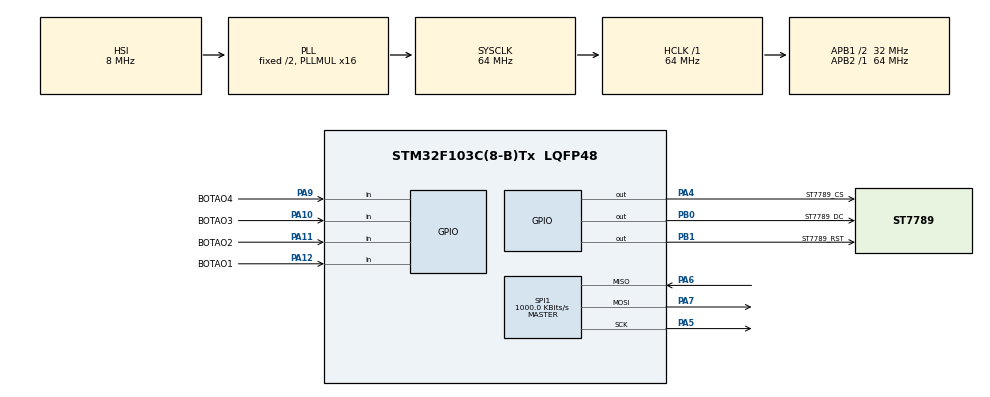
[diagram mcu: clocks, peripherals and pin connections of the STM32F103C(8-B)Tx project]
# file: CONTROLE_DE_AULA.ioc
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Mcu.Family=STM32F1
Mcu.Name=STM32F103C(8-B)Tx
Mcu.Package=LQFP48
NVIC.PriorityGroup=NVIC_PRIORITYGROUP_4
PA10.GPIO_Label=BOTAO3
PA10.GPIO_PuPd=GPIO_PULLUP
PA10.Signal=GPIO_Input
PA11.GPIO_Label=BOTAO2
PA11.GPIO_PuPd=GPIO_PULLUP
PA11.Signal=GPIO_Input
PA12.GPIO_Label=BOTAO1
PA12.GPIO_PuPd=GPIO_PULLUP
PA12.Signal=GPIO_Input
PA13.Mode=Serial_Wire
PA13.Signal=SYS_JTMS-SWDIO
PA14.Mode=Serial_Wire
PA14.Signal=SYS_JTCK-SWCLK
PA4.GPIO_Label=ST7789_CS
PA4.Signal=GPIO_Output
PA5.Mode=Full_Duplex_Master
PA5.Signal=SPI1_SCK
PA6.Mode=Full_Duplex_Master
PA6.Signal=SPI1_MISO
PA7.Mode=Full_Duplex_Master
PA7.Signal=SPI1_MOSI
PA9.GPIO_Label=BOTAO4
PA9.GPIO_PuPd=GPIO_PULLUP
PA9.Signal=GPIO_Input
PB0.GPIO_Label=ST7789_DC
PB0.Signal=GPIO_Output
PB1.GPIO_Label=ST7789_RST
PB1.Signal=GPIO_Output
ProjectManager.HeapSize=0x200
ProjectManager.StackSize=0x400
ProjectManager.TargetToolchain=STM32CubeIDE
RCC.AHBFreq_Value=64000000
RCC.APB1CLKDivider=RCC_HCLK_DIV2
RCC.APB1Freq_Value=32000000
RCC.APB1TimFreq_Value=64000000
RCC.APB2Freq_Value=64000000
RCC.APB2TimFreq_Value=64000000
RCC.HCLKFreq_Value=64000000
RCC.PLLMUL=RCC_PLL_MUL16
RCC.SYSCLKFreq_VALUE=64000000
RCC.SYSCLKSource=RCC_SYSCLKSOURCE_PLLCLK
RCC.USBFreq_Value=64000000
SPI1.BaudRatePrescaler=SPI_BAUDRATEPRESCALER_64
SPI1.CLKPolarity=SPI_POLARITY_HIGH
SPI1.CalculateBaudRate=1000.0 KBits/s
SPI1.Direction=SPI_DIRECTION_2LINES
SPI1.Mode=SPI_MODE_MASTER
SPI1.VirtualType=VM_MASTER
board=custom

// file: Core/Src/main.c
/* USER CODE BEGIN Header */
/**
  ******************************************************************************
  * @file           : main.c
  * @brief          : Main program body
  ******************************************************************************
  * @attention
  *
  * <h2><center>&copy; Copyright (c) 2026 STMicroelectronics.
  * All rights reserved.</center></h2>
  *
  * This software component is licensed by ST under BSD 3-Clause license,
  * the "License"; You may not use this file except in compliance with the
  * License. You may obtain a copy of the License at:
  *                        opensource.org/licenses/BSD-3-Clause
  *
  ******************************************************************************
  */
/* USER CODE END Header */
#include "main.h"

/* USER CODE BEGIN Includes */
#include "st7789\st7789.h"
#include "barracarregamento.h"
#include <stdlib.h>
#include <time.h>

/* USER CODE END Includes */

/* USER CODE BEGIN PD */
#define LE_BOTAO1 HAL_GPIO_ReadPin(BOTAO1_GPIO_Port, BOTAO1_Pin)
#define LE_BOTAO2 HAL_GPIO_ReadPin(BOTAO2_GPIO_Port, BOTAO2_Pin)
#define LE_BOTAO3 HAL_GPIO_ReadPin(BOTAO3_GPIO_Port, BOTAO3_Pin)
#define LE_BOTAO4 HAL_GPIO_ReadPin(BOTAO4_GPIO_Port, BOTAO4_Pin)
/* USER CODE END PD */

SPI_HandleTypeDef hspi1;

void SystemClock_Config(void);
static void MX_GPIO_Init(void);
static void MX_SPI1_Init(void);

int main(void)
{

  /* MCU Configuration--------------------------------------------------------*/

  /* Reset of all peripherals, Initializes the Flash interface and the Systick. */
  HAL_Init();

  /* Configure the system clock */
  SystemClock_Config();

  /* Initialize all configured peripherals */
  MX_GPIO_Init();
  MX_SPI1_Init();
  /* USER CODE BEGIN 2 */
  ST7789_Init();
  /* USER CODE END 2 */

  /* Infinite loop */
  /* USER CODE BEGIN WHILE */
  while (1)
  {
	  ST7789_Fill_Color(0XFC07);
	  ST7789_WriteString(0, 5, "Bem vindo!", Font_16x26, BLACK, 0XFC07);
	  ST7789_WriteString(0, 50, "Aperte PA9 para      iniciar a aula", Font_11x18, BLACK, 0XFC07);
	  HAL_Delay(3000);

	  int aula = 0;

	  	  if (LE_BOTAO4 == 0){
	  		  aula = 1;

	  		      ST7789_Fill_Color(0xFFE0);
	  			  ST7789_WriteString(0, 5, "Digite a senha", Font_16x26, BLACK, YELLOW);
	  			  ST7789_WriteString(0, 50, "PA09 = primeiro   digito", Font_11x18, BLACK, YELLOW);
	  			  ST7789_WriteString(0, 90, "PA11 = segundo    digito", Font_11x18, BLACK, YELLOW);
	  			  ST7789_WriteString(0, 130, "PA10 = Confirmar", Font_11x18, BLACK, YELLOW);
	  			  HAL_Delay(3000);

	  		  while ( aula == 1){

	  			  int senha;

	  			  srand(time(NULL));
	  			  senha = (rand()%99)+1;

	  			  int digito1 = 0; // digito da dezena
	  			  int digito2 = 0; // digito da unidade

	  			  int verificacao = 0;

	  			  while (senha != 0) {

	  			  ST7789_WriteChar(90, 160, digito1 + '0', Font_16x26, BLACK, WHITE);
	  			  ST7789_WriteChar(130, 160, digito2 + '0', Font_16x26, BLACK, WHITE);
	  			  HAL_Delay(500);

	  				  if (LE_BOTAO4 == 0 ) {
	  					  HAL_Delay(500);
	  					  if (digito1 <= 8)
	  						digito1++;
	  					  else
	  						 digito1 = 0;
	  				  }
	  				  else if (LE_BOTAO2 == 0){
	  					  HAL_Delay(500);
	  					  if (digito2 <= 8)
	  						digito2++;
	  					  else
	  						digito2 = 0;
	  				  }
	  				  else if (LE_BOTAO3 == 0){
	  					  HAL_Delay(500);
	  					  verificacao = senha - (digito1 * 10 + digito2);
	  					  if (verificacao == 0){
	  						ST7789_WriteString(0, 200, "Acesso permitido", Font_11x18, GREEN, YELLOW);
	  						senha = 0;
	  					  }
	  					  else {
	  						ST7789_WriteString(0, 200, "Senha incorreta", Font_11x18, RED, YELLOW);
	  						digito1 = 0;
	  						digito2 = 0;
	  					  }
	  				  }
	  			  }

	  			 int aluno1 = 0; // digito da dezena
	  			 int aluno2 = 0; // digito da quantidade
	  			 int totalalunos = 0;
	  			ST7789_Fill_Color(0xFFE0);
	  			ST7789_WriteString(0, 0, "Numero de alunos", Font_16x26, BLACK, YELLOW);
	  			ST7789_WriteString(0, 55, "PA09 = primeiro   digito", Font_11x18, BLACK, YELLOW);
	  			ST7789_WriteString(0, 90, "PA11 = segundo    digito", Font_11x18, BLACK, YELLOW);
	  			ST7789_WriteString(0, 140, "PA10 = Confirmar", Font_11x18, BLACK, YELLOW);

	  			 while (totalalunos == 0) {
	  				ST7789_WriteChar(90, 160, aluno1 + '0', Font_16x26, BLACK, WHITE);
	  				ST7789_WriteChar(130, 160, aluno2 + '0', Font_16x26, BLACK, WHITE);
	  				 if (LE_BOTAO4 == 0){
	  					HAL_Delay(500);
	  					if (aluno1 <= 8)
	  						aluno1++;
	  					else
	  						aluno1 = 0;
	  				 }
	  				 else if (LE_BOTAO2 == 0){
	  					HAL_Delay(500);
	  					if (aluno2 <= 8)
	  						aluno2++;
	  					else
	  						aluno2 = 0;
	  				 }
	  				 else if (LE_BOTAO3 == 0){
	  					 HAL_Delay(500);
	  					 totalalunos = (aluno1 * 10) + aluno2 ;
	  				 }
	  			 }
	  			 int presencaalunos = 0;
	  			 int saidaalunos = 0;
	  			 int contador = 0;
	  			 int contadorpresenca = 0;
	  			 ST7789_Fill_Color(0xFFE0);
	  			 ST7789_WriteString(0, 0, "Alunos em sala", Font_16x26, BLACK, YELLOW);
	  			 ST7789_WriteString(0, 30, "Aperte o botao PA09 para registrar a entrada", Font_7x10, BLACK, YELLOW);
	  			 ST7789_WriteString(0, 100, "Fora de sala", Font_16x26, BLACK, YELLOW);
	  			 ST7789_WriteString(0, 125, "Aperte o botao PA11 para ganhar   registrar saida e PA09 para o     retorno", Font_7x10, BLACK, YELLOW);
	  			 ST7789_WriteString(0, 200, "Aperte PA12 e PA10 para encerrar a aula", Font_7x10, BLACK, YELLOW);
	  			 HAL_Delay(1000);

	  			 while (aula == 1){
	  				ST7789_WriteChar(100,150, saidaalunos + '0', Font_16x26, BLACK, WHITE);
	  				DrawLoadingBar(presencaalunos, totalalunos);
	  				HAL_Delay(1000);
	  				if (LE_BOTAO1 == 0 && LE_BOTAO3 == 0){
	  					 ST7789_Fill_Color(0xFFE0);
	  					 ST7789_WriteString(0, 0, "Relatorio", Font_16x26, BLACK, YELLOW);
	  					ST7789_WriteString(9, 56, "Alunos registrados", Font_11x18, BLACK, YELLOW);
	  					ST7789_WriteChar(100, 111, presencaalunos + '0', Font_16x26, BLACK, WHITE);
	  					ST7789_WriteString(9, 146, "Saidas durante a    aula", Font_11x18, BLACK, YELLOW);
	  					ST7789_WriteChar(100, 200, contador + '0', Font_16x26, BLACK, WHITE);
	  					HAL_Delay(120000);
	  					aula = 0;
	  				 }
	  				 else if (LE_BOTAO2 == 0){
	  					if (saidaalunos < 3 && presencaalunos > 0){
	  					        saidaalunos++;
	  					        presencaalunos--;
	  					        contador++;
	  					    }
	  					    else{
	  					        ST7789_WriteString(0, 175,
	  					        "Numero de pessoas fora de sala excedido",
	  					        Font_7x10, RED, YELLOW);
	  					        HAL_Delay(100);
	  					    }
	  				 }
	  				 else if (LE_BOTAO3 == 0){
	  					    if(saidaalunos > 0){
	  					        saidaalunos--;
	  					        presencaalunos++;
	  					    }
	                    }
	  				 else if (LE_BOTAO4 == 0){

	  					    if (presencaalunos < totalalunos){
	  					        presencaalunos++;
	  					        contadorpresenca++;
	  					    }
	  					    else{
	  					        ST7789_WriteString(0, 50,
	  					        "Numero maximo de alunos atingido",
	  					        Font_7x10, BLACK, YELLOW);
	  					    }
	  					}
	  				 }
	  		 	 }
	  		  }

    /* USER CODE END WHILE */

  }
}

void SystemClock_Config(void)
{
  RCC_OscInitTypeDef RCC_OscInitStruct = {0};
  RCC_ClkInitTypeDef RCC_ClkInitStruct = {0};

  /** Initializes the RCC Oscillators according to the specified parameters
  * in the RCC_OscInitTypeDef structure.
  */
  RCC_OscInitStruct.OscillatorType = RCC_OSCILLATORTYPE_HSI;
  RCC_OscInitStruct.HSIState = RCC_HSI_ON;
  RCC_OscInitStruct.HSICalibrationValue = RCC_HSICALIBRATION_DEFAULT;
  RCC_OscInitStruct.PLL.PLLState = RCC_PLL_ON;
  RCC_OscInitStruct.PLL.PLLSource = RCC_PLLSOURCE_HSI_DIV2;
  RCC_OscInitStruct.PLL.PLLMUL = RCC_PLL_MUL16;
  if (HAL_RCC_OscConfig(&RCC_OscInitStruct) != HAL_OK)
  {
    Error_Handler();
  }
  /** Initializes the CPU, AHB and APB buses clocks
  */
  RCC_ClkInitStruct.ClockType = RCC_CLOCKTYPE_HCLK|RCC_CLOCKTYPE_SYSCLK
                              |RCC_CLOCKTYPE_PCLK1|RCC_CLOCKTYPE_PCLK2;
  RCC_ClkInitStruct.SYSCLKSource = RCC_SYSCLKSOURCE_PLLCLK;
  RCC_ClkInitStruct.AHBCLKDivider = RCC_SYSCLK_DIV1;
  RCC_ClkInitStruct.APB1CLKDivider = RCC_HCLK_DIV2;
  RCC_ClkInitStruct.APB2CLKDivider = RCC_HCLK_DIV1;

  if (HAL_RCC_ClockConfig(&RCC_ClkInitStruct, FLASH_LATENCY_2) != HAL_OK)
  {
    Error_Handler();
  }
}

static void MX_SPI1_Init(void)
{

  /* SPI1 parameter configuration*/
  hspi1.Instance = SPI1;
  hspi1.Init.Mode = SPI_MODE_MASTER;
  hspi1.Init.Direction = SPI_DIRECTION_2LINES;
  hspi1.Init.DataSize = SPI_DATASIZE_8BIT;
  hspi1.Init.CLKPolarity = SPI_POLARITY_HIGH;
  hspi1.Init.CLKPhase = SPI_PHASE_1EDGE;
  hspi1.Init.NSS = SPI_NSS_SOFT;
  hspi1.Init.BaudRatePrescaler = SPI_BAUDRATEPRESCALER_64;
  hspi1.Init.FirstBit = SPI_FIRSTBIT_MSB;
  hspi1.Init.TIMode = SPI_TIMODE_DISABLE;
  hspi1.Init.CRCCalculation = SPI_CRCCALCULATION_DISABLE;
  hspi1.Init.CRCPolynomial = 10;
  if (HAL_SPI_Init(&hspi1) != HAL_OK)
  {
    Error_Handler();
  }

}

static void MX_GPIO_Init(void)
{
  GPIO_InitTypeDef GPIO_InitStruct = {0};

  /* GPIO Ports Clock Enable */
  __HAL_RCC_GPIOA_CLK_ENABLE();
  __HAL_RCC_GPIOB_CLK_ENABLE();

  /*Configure GPIO pin Output Level */
  HAL_GPIO_WritePin(ST7789_CS_GPIO_Port, ST7789_CS_Pin, GPIO_PIN_RESET);

  /*Configure GPIO pin Output Level */
  HAL_GPIO_WritePin(GPIOB, ST7789_DC_Pin|ST7789_RST_Pin, GPIO_PIN_RESET);

  /*Configure GPIO pin : ST7789_CS_Pin */
  GPIO_InitStruct.Pin = ST7789_CS_Pin;
  GPIO_InitStruct.Mode = GPIO_MODE_OUTPUT_PP;
  GPIO_InitStruct.Pull = GPIO_NOPULL;
  GPIO_InitStruct.Speed = GPIO_SPEED_FREQ_LOW;
  HAL_GPIO_Init(ST7789_CS_GPIO_Port, &GPIO_InitStruct);

  /*Configure GPIO pins : ST7789_DC_Pin ST7789_RST_Pin */
  GPIO_InitStruct.Pin = ST7789_DC_Pin|ST7789_RST_Pin;
  GPIO_InitStruct.Mode = GPIO_MODE_OUTPUT_PP;
  GPIO_InitStruct.Pull = GPIO_NOPULL;
  GPIO_InitStruct.Speed = GPIO_SPEED_FREQ_LOW;
  HAL_GPIO_Init(GPIOB, &GPIO_InitStruct);

  /*Configure GPIO pins : BOTAO4_Pin BOTAO3_Pin BOTAO2_Pin BOTAO1_Pin */
  GPIO_InitStruct.Pin = BOTAO4_Pin|BOTAO3_Pin|BOTAO2_Pin|BOTAO1_Pin;
  GPIO_InitStruct.Mode = GPIO_MODE_INPUT;
  GPIO_InitStruct.Pull = GPIO_PULLUP;
  HAL_GPIO_Init(GPIOA, &GPIO_InitStruct);

}

void Error_Handler(void)
{
  __disable_irq();
  while (1)
  {
  }
}

/************************ (C) COPYRIGHT STMicroelectronics *****END OF FILE****/
